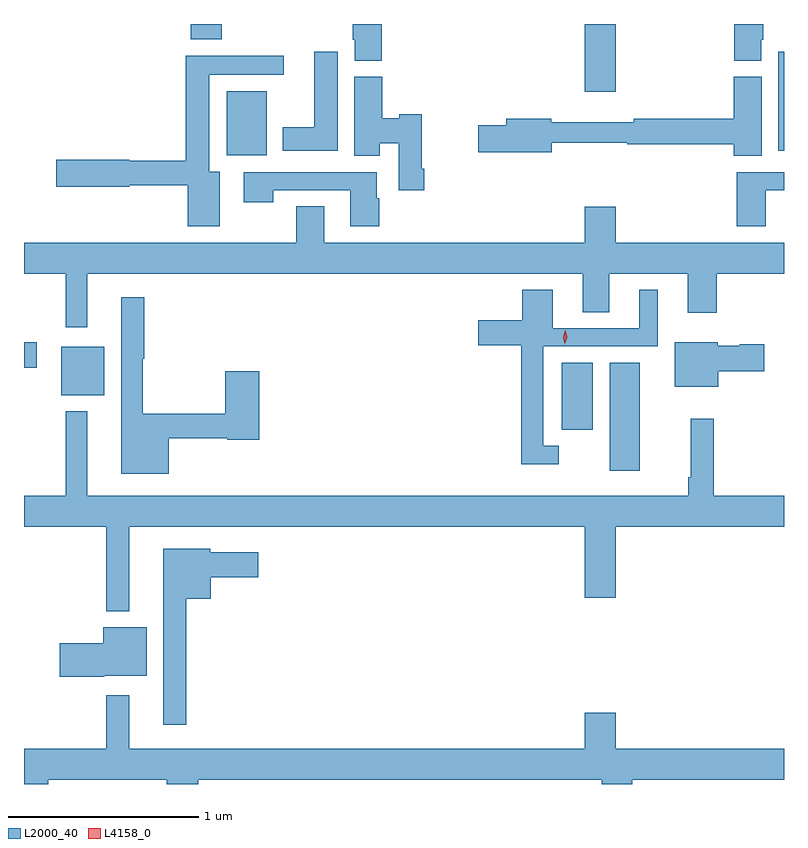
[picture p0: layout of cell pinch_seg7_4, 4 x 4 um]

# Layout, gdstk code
import gdstk
lib = gdstk.Library(unit=1e-6, precision=1e-09)
def R(c, l, rs):  # rectangles x0, y0, x1, y1
    for r in rs: c.add(gdstk.rectangle(r[:2], r[2:], *l))
def P(c, l, *ps):  # polygons
    for p in ps: c.add(gdstk.Polygon(p, *l))
L2000_40 = (2000, 40)
L4158_0 = (4158, 0)

pinch_seg7_4 = lib.new_cell('pinch_seg7_4')
R(pinch_seg7_4, L2000_40, [(1040.264,1060.851,1040.422,1061.42), (1040.012,1061.067,1040.176,1061.42), (1037.378,1061.249,1037.605,1061.503), (1037.182,1061.393,1037.248,1061.527), (1038.248,1062.512,1038.46,1062.847), (1041.152,1062.536,1041.182,1063.057), (1040.132,1062.846,1040.296,1063.202), (1038.059,1063.121,1038.224,1063.202)])
P(pinch_seg7_4, L2000_40, [(1039.064,1063.202),(1038.911,1063.202),(1038.911,1063.119),(1038.923,1063.119),(1038.923,1063.009),(1039.064,1063.009)],
  [(1041.061,1063.119),(1041.074,1063.119),(1041.074,1063.202),(1040.921,1063.202),(1040.921,1063.009),(1041.061,1063.009)],
  [(1038.832,1063.057),(1038.71,1063.057),(1038.71,1062.658),(1038.545,1062.658),(1038.545,1062.536),(1038.832,1062.536)],
  [(1038.211,1062.424),(1038.157,1062.424),(1038.157,1062.936),(1038.55,1062.936),(1038.55,1063.034),(1038.032,1063.034),(1038.032,1062.482),(1037.736,1062.482),(1037.736,1062.488),(1037.352,1062.488),(1037.352,1062.346),(1037.736,1062.346),(1037.736,1062.354),(1038.044,1062.354),(1038.044,1062.138),(1038.211,1062.138)],
  [(1041.064,1062.924),(1040.918,1062.924),(1040.918,1062.704),(1040.392,1062.704),(1040.392,1062.685),(1039.956,1062.685),(1039.956,1062.704),(1039.721,1062.704),(1039.721,1062.668),(1039.572,1062.668),(1039.572,1062.526),(1039.96,1062.526),(1039.96,1062.576),(1040.356,1062.576),(1040.356,1062.568),(1040.918,1062.568),(1040.918,1062.508),(1041.064,1062.508)],
  [(1039.289,1062.439),(1039.276,1062.439),(1039.276,1062.728),(1039.158,1062.728),(1039.158,1062.705),(1039.067,1062.705),(1039.067,1062.924),(1038.92,1062.924),(1038.92,1062.508),(1039.054,1062.508),(1039.054,1062.575),(1039.154,1062.575),(1039.154,1062.327),(1039.289,1062.327)],
  [(1041.085,1062.327),(1041.182,1062.327),(1041.182,1062.423),(1040.933,1062.423),(1040.933,1062.138),(1041.085,1062.138)],
  [(1039.052,1062.285),(1039.039,1062.285),(1039.039,1062.423),(1038.339,1062.423),(1038.339,1062.264),(1038.495,1062.264),(1038.495,1062.327),(1038.899,1062.327),(1038.899,1062.138),(1039.052,1062.138)],
  [(1037.515,1061.888),(1040.123,1061.888),(1040.123,1061.686),(1040.263,1061.686),(1040.263,1061.888),(1040.675,1061.888),(1040.675,1061.682),(1040.828,1061.682),(1040.828,1061.888),(1041.182,1061.888),(1041.182,1062.052),(1040.296,1062.052),(1040.296,1062.241),(1040.132,1062.241),(1040.132,1062.052),(1038.763,1062.052),(1038.763,1062.242),(1038.616,1062.242),(1038.616,1062.052),(1037.182,1062.052),(1037.182,1061.888),(1037.401,1061.888),(1037.401,1061.607),(1037.515,1061.607)],
  [(1039.996,1060.983),(1039.914,1060.983),(1039.914,1061.505),(1040.518,1061.505),(1040.518,1061.803),(1040.42,1061.803),(1040.42,1061.601),(1039.966,1061.601),(1039.966,1061.803),(1039.805,1061.803),(1039.805,1061.644),(1039.572,1061.644),(1039.572,1061.51),(1039.798,1061.51),(1039.798,1060.886),(1039.996,1060.886)],
  [(1037.944,1061.022),(1038.252,1061.022),(1038.252,1061.014),(1038.419,1061.014),(1038.419,1061.374),(1038.241,1061.374),(1038.241,1061.15),(1037.807,1061.15),(1037.807,1061.439),(1037.815,1061.439),(1037.815,1061.764),(1037.693,1061.764),(1037.693,1060.835),(1037.944,1060.835)],
  [(1040.836,1061.375),(1041.079,1061.375),(1041.079,1061.517),(1040.949,1061.517),(1040.949,1061.509),(1040.832,1061.509),(1040.832,1061.527),(1040.606,1061.527),(1040.606,1061.294),(1040.836,1061.294)],
  [(1037.737,1060.556),(1040.132,1060.556),(1040.132,1060.182),(1040.296,1060.182),(1040.296,1060.556),(1041.182,1060.556),(1041.182,1060.72),(1040.813,1060.72),(1040.813,1061.125),(1040.692,1061.125),(1040.692,1060.816),(1040.677,1060.816),(1040.677,1060.72),(1037.515,1060.72),(1037.515,1061.164),(1037.401,1061.164),(1037.401,1060.72),(1037.182,1060.72),(1037.182,1060.556),(1037.616,1060.556),(1037.616,1060.112),(1037.737,1060.112)],
  [(1038.037,1060.178),(1038.166,1060.178),(1038.166,1060.289),(1038.415,1060.289),(1038.415,1060.423),(1038.162,1060.423),(1038.162,1060.441),(1037.915,1060.441),(1037.915,1059.513),(1038.037,1059.513)],
  [(1037.604,1059.773),(1037.827,1059.773),(1037.827,1060.027),(1037.6,1060.027),(1037.6,1059.944),(1037.37,1059.944),(1037.37,1059.766),(1037.604,1059.766)],
  [(1037.309,1059.224),(1037.933,1059.224),(1037.933,1059.202),(1038.098,1059.202),(1038.098,1059.224),(1040.224,1059.224),(1040.224,1059.202),(1040.384,1059.202),(1040.384,1059.224),(1041.182,1059.224),(1041.182,1059.388),(1040.296,1059.388),(1040.296,1059.577),(1040.132,1059.577),(1040.132,1059.388),(1037.737,1059.388),(1037.737,1059.67),(1037.616,1059.67),(1037.616,1059.388),(1037.182,1059.388),(1037.182,1059.202),(1037.309,1059.202)])
P(pinch_seg7_4, L4158_0, [(1040.028,1061.517),(1040.028,1061.518),(1040.02,1061.554),(1040.031,1061.589),(1040.031,1061.589),(1040.031,1061.589),(1040.04,1061.553),(1040.028,1061.518)])

lib.write_gds('pinch_seg7_4.gds')
